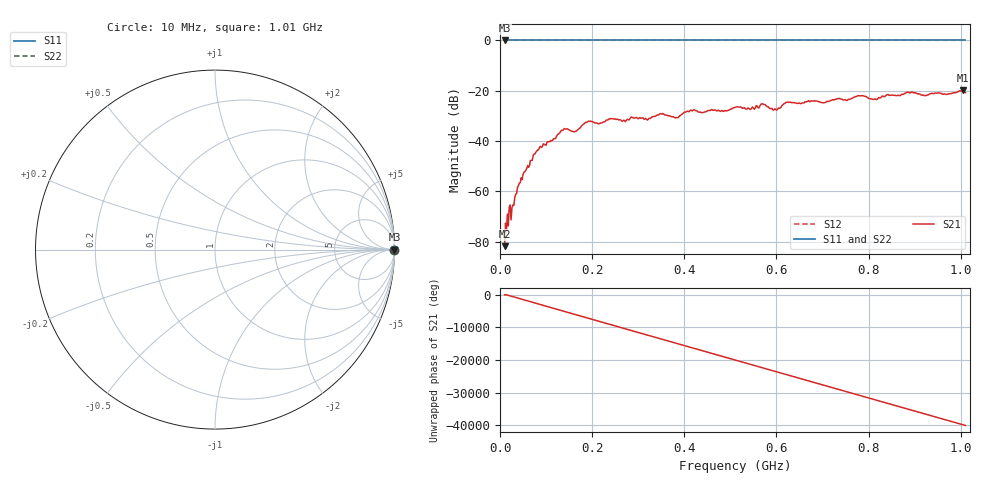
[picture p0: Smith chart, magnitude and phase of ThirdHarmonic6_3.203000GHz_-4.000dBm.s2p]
! 8/17/2025 9:43:49 AM
! C:\ANRITSUVNA\TEMP\TEMP.S2P
! CHANNEL.1
! TR.MEASUREMENT
! RAW.DATA
! RF.CORRECTION.OFF
! AVERAGING.OFF
! IF.BANDWIDTH: 5KHZ
! SWEEPTYPE:  FREQ.SWEEP(Linear)
! Reference Plane Port Info
! PORT:  PORT1  PORT2
! DISTANCE:  0  m  0  m
! TIME:  0  s  0  s
! PHASE.OFFSET:  0  deg.  0  deg.
! LOSS:  0  dB  0  dB
! REF.LOSS:  0  dB  0  dB
! REF.FREQ:  0  Hz  0  Hz
! Power Info
! POWER:  -20  dBm  -20  dBm
! EFF.POWER:  -20  dBm  -20  dBm
! SOURCE.ATTEN:  0  dB  0  dB
! TEST.ATTEN:  0  dB  0  dB
# GHZ S RI R 50.0
! FREQ.GHZ  S11RE  S11IM  S21RE  S21IM  S12RE  S12IM  S22RE  S22IM
!; PortSelection: Port_12
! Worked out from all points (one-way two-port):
!   501 points, 10 MHz to 1.01 GHz, reference 50 ohm
!   highest |S21| = -19.88 dB at 1.004 GHz (marker M1); lowest = -81.7 dB at 10 MHz (marker M2)
!   lowest |S11| = 0.0 dB at 10 MHz (marker M3)
!   |S11| at or under -10 dB: nowhere
!   |S22| runs from 0.0 to 0.0 dB; largest |S21 - S12| = 1.1
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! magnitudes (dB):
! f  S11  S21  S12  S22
! 10 MHz  0.0  -81.7  0.0  0.0
! 18 MHz  0.0  -73.7  0.0  0.0
! 28 MHz  0.0  -65.3  0.0  0.0
! 42 MHz  0.0  -56.6  0.0  0.0
! 76 MHz  0.0  -45.1  0.0  0.0
! 136 MHz  0.0  -35.8  0.0  0.0
! 162 MHz  0.0  -36.3  0.0  0.0
! 178 MHz  0.0  -33.8  0.0  0.0
! 194 MHz  0.0  -32.1  0.0  0.0
! 344 MHz  0.0  -29.6  0.0  0.0
! 384 MHz  0.0  -30.7  0.0  0.0
! 416 MHz  0.0  -27.9  0.0  0.0
! 510 MHz  0.0  -26.6  0.0  0.0
! 570 MHz  0.0  -25.2  0.0  0.0
! 598 MHz  0.0  -27.3  0.0  0.0
! 624 MHz  0.0  -24.5  0.0  0.0
! 678 MHz  0.0  -24.1  0.0  0.0
! 782 MHz  0.0  -22.0  0.0  0.0
! 814 MHz  0.0  -23.2  0.0  0.0
! 844 MHz  0.0  -21.8  0.0  0.0
! 1.004 GHz  0.0  -19.9  0.0  0.0
! 1.01 GHz  0.0  -20.7  0.0  0.0
